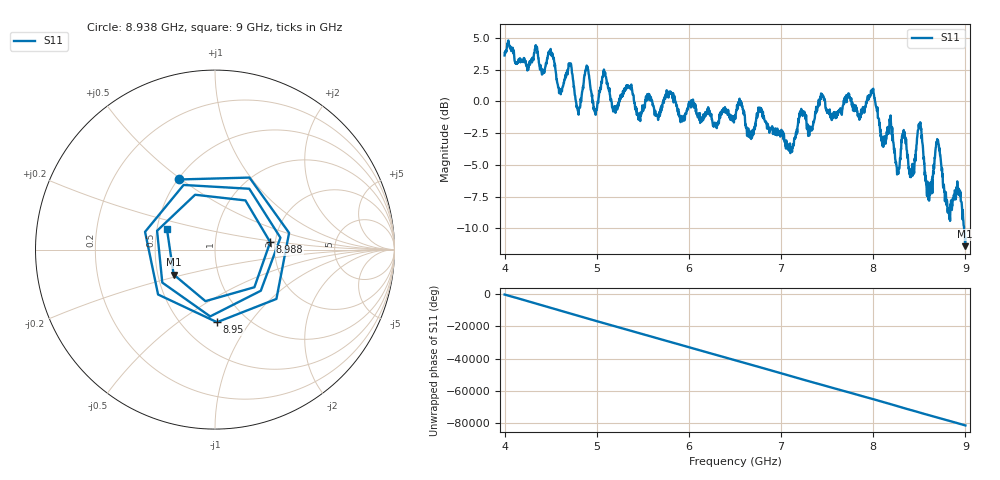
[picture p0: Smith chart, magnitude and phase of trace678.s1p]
! Created with skrf 1.8.0 (http://scikit-rf.org).
# Hz S RI R 50.0
!freq ReS11 ImS11
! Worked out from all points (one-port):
!   1601 points, 4 GHz to 9 GHz, reference 50 ohm
!   lowest |S11| = -11.4 dB at 8.997 GHz (marker M1), VSWR 1.74, Z = 30.3 - j9.07 ohm
!   |S11| at or under -10 dB: 8.985996 GHz to end of sweep
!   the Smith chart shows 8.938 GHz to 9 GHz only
!   S11 on the Smith chart (normalised r, x): 8.938 GHz: 0.51, +0.49; 8.95 GHz: 0.73, -0.71; 8.988 GHz: 1.88, +0.17; 9 GHz: 0.57, +0.14
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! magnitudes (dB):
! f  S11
! 4 GHz  3.6
! 4.5 GHz  4.1
! 4.625 GHz  1.0
! 4.703 GHz  2.9
! 4.797 GHz  -0.8
! 4.891 GHz  2.8
! 4.978 GHz  -0.7
! 5.078 GHz  2.5
! 5.25 GHz  0.0
! 5.875 GHz  -0.7
! 6.5 GHz  -1.1
! 7.125 GHz  -3.7
! 7.225 GHz  -0.9
! 7.75 GHz  0.3
! 7.991 GHz  0.9
! 8.262 GHz  -5.5
! 8.331 GHz  -2.3
! 8.375 GHz  -4.2
! 8.425 GHz  -4.9
! 8.503 GHz  -1.8
! 8.594 GHz  -6.6
! 8.697 GHz  -3.1
! 8.809 GHz  -8.8
! 8.938 GHz  -7.1
! 8.95 GHz  -7.9
! 8.988 GHz  -10.2
! 8.997 GHz  -11.4
! 9 GHz  -10.7
